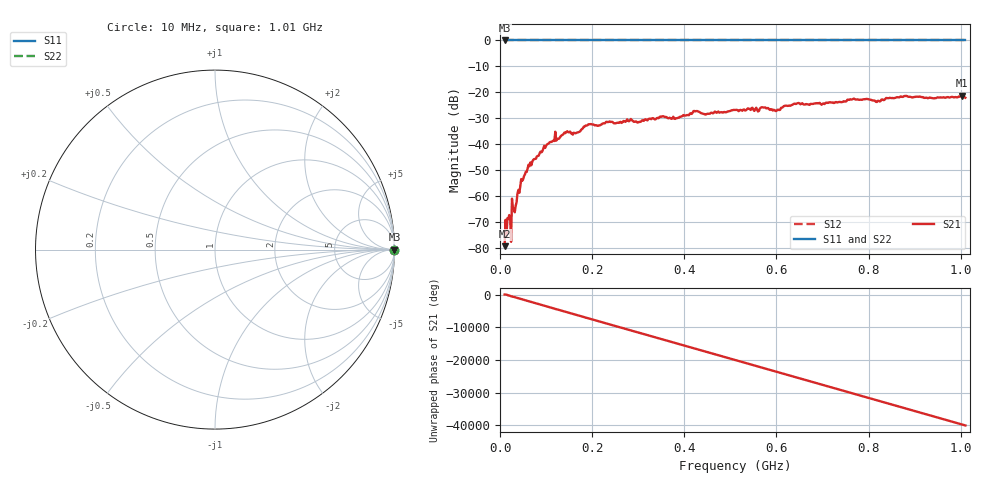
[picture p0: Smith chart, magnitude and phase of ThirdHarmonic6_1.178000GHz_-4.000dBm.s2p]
! 8/16/2025 11:59:53 AM
! C:\ANRITSUVNA\TEMP\TEMP.S2P
! CHANNEL.1
! TR.MEASUREMENT
! RAW.DATA
! RF.CORRECTION.OFF
! AVERAGING.OFF
! IF.BANDWIDTH: 5KHZ
! SWEEPTYPE:  FREQ.SWEEP(Linear)
! Reference Plane Port Info
! PORT:  PORT1  PORT2
! DISTANCE:  0  m  0  m
! TIME:  0  s  0  s
! PHASE.OFFSET:  0  deg.  0  deg.
! LOSS:  0  dB  0  dB
! REF.LOSS:  0  dB  0  dB
! REF.FREQ:  0  Hz  0  Hz
! Power Info
! POWER:  -20  dBm  -20  dBm
! EFF.POWER:  -20  dBm  -20  dBm
! SOURCE.ATTEN:  0  dB  0  dB
! TEST.ATTEN:  0  dB  0  dB
# GHZ S RI R 50.0
! FREQ.GHZ  S11RE  S11IM  S21RE  S21IM  S12RE  S12IM  S22RE  S22IM
!; PortSelection: Port_12
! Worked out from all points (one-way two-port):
!   501 points, 10 MHz to 1.01 GHz, reference 50 ohm
!   highest |S21| = -21.33 dB at 1.002 GHz (marker M1); lowest = -79.3 dB at 10 MHz (marker M2)
!   lowest |S11| = 0.0 dB at 10 MHz (marker M3)
!   |S11| at or under -10 dB: nowhere
!   |S22| runs from 0.0 to 0.0 dB; largest |S21 - S12| = 1.1
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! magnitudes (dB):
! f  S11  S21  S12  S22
! 10 MHz  0.0  -79.3  0.0  0.0
! 16 MHz  0.0  -68.5  0.0  0.0
! 20 MHz  0.0  -67.3  0.0  0.0
! 28 MHz  0.0  -64.5  0.0  0.0
! 30 MHz  0.0  -64.9  0.0  0.0
! 34 MHz  0.0  -63.8  0.0  0.0
! 42 MHz  0.0  -58.7  0.0  0.0
! 64 MHz  0.0  -48.5  0.0  0.0
! 116 MHz  0.0  -38.6  0.0  0.0
! 178 MHz  0.0  -34.1  0.0  0.0
! 196 MHz  0.0  -32.3  0.0  0.0
! 344 MHz  0.0  -30.0  0.0  0.0
! 382 MHz  0.0  -30.0  0.0  0.0
! 424 MHz  0.0  -27.3  0.0  0.0
! 510 MHz  0.0  -26.8  0.0  0.0
! 572 MHz  0.0  -25.8  0.0  0.0
! 602 MHz  0.0  -26.7  0.0  0.0
! 642 MHz  0.0  -24.5  0.0  0.0
! 678 MHz  0.0  -24.5  0.0  0.0
! 844 MHz  0.0  -22.2  0.0  0.0
! 1.002 GHz  0.0  -21.3  0.0  0.0
! 1.01 GHz  0.0  -22.1  0.0  0.0
